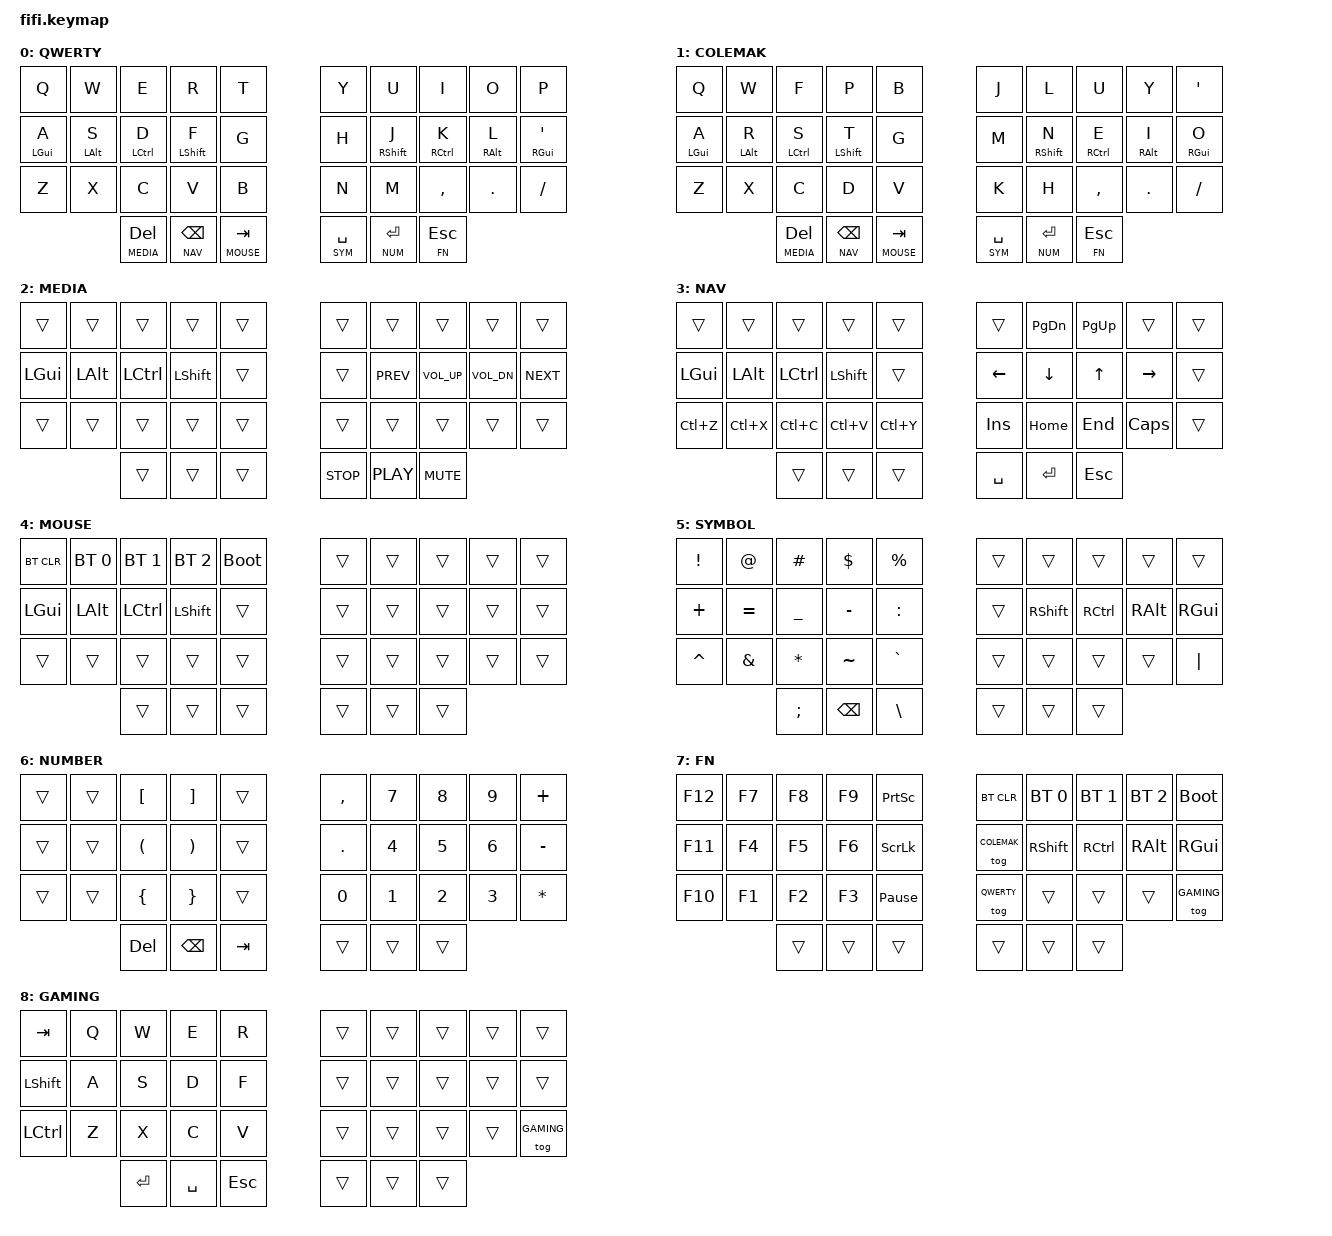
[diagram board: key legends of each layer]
#include <behaviors.dtsi>
#include <dt-bindings/zmk/bt.h>
#include <dt-bindings/zmk/keys.h>
#include <dt-bindings/zmk/matrix_transform.h>
#include <dt-bindings/zmk/outputs.h>
#include <dt-bindings/zmk/behaviors.h>

#define QWERTY 0
#define COLEMAK 1
#define MEDIA 2
#define NAV 3
#define MOUSE 4
#define SYM 5
#define NUM 6
#define FN 7   
#define GAMING 8

/ {
    behaviors {
        hm: homerow_mods {
            compatible = "zmk,behavior-hold-tap";
            #binding-cells = <2>;
            tapping-term-ms = <150>;
            quick_tap_ms = <0>;
            flavor = "tap-preferred";
            bindings = <&kp>, <&kp>;
        };
        hl: homerow_mods_longer {
            compatible = "zmk,behavior-hold-tap";
            #binding-cells = <2>;
            tapping-term-ms = <250>;
            quick-tap-ms = <0>;
            flavor = "tap-preferred";
            bindings = <&kp>, <&kp>;
        };
        lt: layer_tap {
            compatible = "zmk,behavior-hold-tap";
            #binding-cells = <2>;
            flavor = "tap-preferred";
            tapping-term-ms = <180>;
            bindings = <&mo>, <&kp>;
            display-name = "Layer-Tap";
        };
      }
    };

    keymap {
      compatible = "zmk,keymap";

      qwerty_layer {
          label = "QWERTY";
          bindings = <      
              &kp Q               &kp W           &kp E           &kp R           &kp T           &kp Y           &kp U           &kp I           &kp O           &kp P           
              &hm LGUI A          &hm LALT S      &hm LCTRL D     &hm LSHIFT F    &kp G           &kp H           &hm RSHIFT J    &hm RCTRL K     &hm RALT L      &hm RGUI APOS
              &kp Z               &kp X           &kp C           &kp V           &kp B           &kp N           &kp M           &kp COMMA       &kp DOT         &kp FSLH       
                                                  &lt MEDIA DEL   &lt NAV BSPC    &lt MOUSE TAB   &lt SYM SPACE   &lt NUM RET     &lt FN ESC  
          >;      
      };

      colemak_layer {
          label = "COLEMAK"; 
          bindings = <   
              &kp Q               &kp W           &kp F           &kp P           &kp B           &kp J           &kp L           &kp U           &kp Y           &kp APOS        
              &hm LGUI A          &hm LALT R      &hm LCTRL S     &hm LSHIFT T    &kp G           &kp M           &hm RSHIFT N    &hm RCTRL E     &hm RALT I      &hm RGUI O  
              &kp Z               &kp X           &kp C           &kp D           &kp V           &kp K           &kp H           &kp COMMA       &kp DOT         &kp FSLH       
                                                  &lt MEDIA DEL   &lt NAV BSPC    &lt MOUSE TAB   &lt SYM SPACE   &lt NUM RET     &lt FN ESC  
          >;      
      };
      media_layer {
              label = "MEDIA";
              bindings = <
                  &trans          &trans          &trans          &trans          &trans          &trans          &trans          &trans          &trans          &trans          
                  &kp LGUI        &kp LALT        &kp LCTRL       &kp LSHIFT      &trans          &trans          &kp C_PREV      &kp C_VOL_UP    &kp C_VOL_DN    &kp C_NEXT      
                  &trans          &trans          &trans          &trans          &trans          &trans          &trans          &trans          &trans          &trans         
                                                  &trans          &trans          &trans          &kp C_STOP      &kp C_PLAY      &kp C_MUTE
              >;
      };

      nav_layer {
              label = "NAV";
              bindings = <
                  &trans          &trans          &trans          &trans          &trans          &trans          &kp PG_DN       &kp PG_UP       &trans          &trans        
                  &kp LGUI        &kp LALT        &kp LCTRL       &kp LSHIFT      &trans          &kp LEFT        &kp DOWN        &kp UP          &kp RIGHT       &trans    
                  &kp LC(Z)       &kp LC(X)       &kp LC(C)       &kp LC(V)       &kp LC(Y)       &kp INS         &kp HOME        &kp END         &kp CAPS        &trans      
                                                  &trans          &trans          &trans          &kp SPACE       &kp RET         &kp ESC
              >;
      };

      mouse_layer {
              label = "MOUSE";
              bindings = <
                  &bt BT_CLR      &bt BT_SEL 0    &bt BT_SEL 1    &bt BT_SEL 2    &bootloader     &trans          &trans          &trans          &trans          &trans         
                  &kp LGUI        &kp LALT        &kp LCTRL       &kp LSHIFT      &trans          &trans          &trans          &trans          &trans          &trans          
                  &trans          &trans          &trans          &trans          &trans          &trans          &trans          &trans          &trans          &trans          
                                                  &trans          &trans          &trans          &trans          &trans          &trans
              >;
      };

      symbol_layer {
              label = "SYMBOL";
              bindings = <
                  &kp EXCL        &kp AT          &kp HASH        &kp DLLR         &kp PRCNT      &trans          &trans          &trans          &trans          &trans         
                  &kp PLUS        &kp EQUAL       &kp UNDER       &kp MINUS        &kp COLON      &trans          &kp RSHIFT      &kp RCTRL       &kp RALT        &kp RGUI        
                  &kp CARET       &kp AMPS        &kp STAR        &kp TILDE        &kp GRAVE      &trans          &trans          &trans          &trans          &kp PIPE       
                                                  &kp SEMI        &kp BSPC         &kp BSLH       &trans          &trans          &trans
              >;
      };

      num_layer {
              label = "NUMBER";
              bindings = <
                  &trans          &trans          &kp LBKT        &kp RBKT        &trans          &kp COMMA       &kp N7         &kp N8           &kp N9          &kp PLUS 
                  &trans          &trans          &kp LPAR        &kp RPAR        &trans          &kp DOT         &kp N4         &kp N5           &kp N6          &kp MINUS          
                  &trans          &trans          &kp LBRC        &kp RBRC        &trans          &kp N0          &kp N1         &kp N2           &kp N3          &kp STAR          
                                                  &kp DEL         &kp BSPC        &kp TAB         &trans          &trans         &trans
              >;
      };

      fn_layer {
              label = "FN";
              bindings = <
                  &kp F12         &kp F7          &kp F8          &kp F9          &kp PSCRN       &bt BT_CLR      &bt BT_SEL 0    &bt BT_SEL 1    &bt BT_SEL 2    &bootloader    
                  &kp F11         &kp F4          &kp F5          &kp F6          &kp SLCK        &tog COLEMAK    &kp RSHIFT      &kp RCTRL       &kp RALT        &kp RGUI        
                  &kp F10         &kp F1          &kp F2          &kp F3          &kp PAUSE_BREAK &tog QWERTY     &trans          &trans          &trans          &tog GAMING           
                                                  &trans          &trans          &trans          &trans          &trans          &trans
              >;
      };

      gaming_layer {
          label = "GAMING"; 
          bindings = <      
              &kp TAB             &kp Q           &kp W           &kp E           &kp R           &trans           &trans         &trans          &trans          &trans           
              &kp LSHIFT          &kp A           &kp S           &kp D           &kp F           &trans           &trans         &trans          &trans          &trans
              &kp LCTRL           &kp Z           &kp X           &kp C           &kp V           &trans           &trans         &trans          &trans          &tog GAMING       
                                                  &kp RET         &kp SPACE       &kp ESC         &trans           &trans         &trans  
          >;      
      };

    };
};
